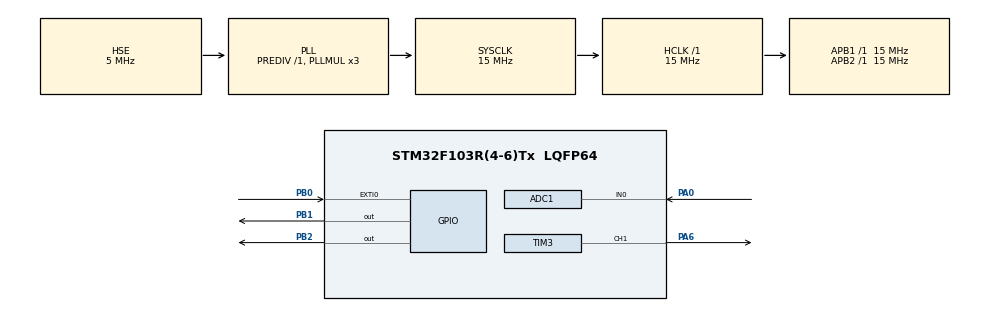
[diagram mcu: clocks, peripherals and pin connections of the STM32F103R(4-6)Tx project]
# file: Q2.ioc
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ADC1.Channel-0\#ChannelRegularConversion=ADC_CHANNEL_0
ADC1.ContinuousConvMode=ENABLE
ADC1.NbrOfConversionFlag=1
ADC1.Rank-0\#ChannelRegularConversion=1
ADC1.SamplingTime-0\#ChannelRegularConversion=ADC_SAMPLETIME_1CYCLE_5
ADC1.master=1
Mcu.Family=STM32F1
Mcu.Name=STM32F103R(4-6)Tx
Mcu.Package=LQFP64
NVIC.EXTI0_IRQn=true\:0\:0\:false\:false\:true\:true\:true\:true
NVIC.PriorityGroup=NVIC_PRIORITYGROUP_4
PA0-WKUP.Signal=ADCx_IN0
PA6.Signal=S_TIM3_CH1
PB0.GPIO_ModeDefaultEXTI=GPIO_MODE_IT_FALLING
PB0.GPIO_PuPd=GPIO_PULLUP
PB0.Signal=GPXTI0
PB1.Signal=GPIO_Output
PB2.Signal=GPIO_Output
PD0-OSC_IN.Mode=HSE-External-Oscillator
PD0-OSC_IN.Signal=RCC_OSC_IN
PD1-OSC_OUT.Mode=HSE-External-Oscillator
PD1-OSC_OUT.Signal=RCC_OSC_OUT
ProjectManager.HeapSize=0x200
ProjectManager.StackSize=0x400
ProjectManager.TargetToolchain=STM32CubeIDE
RCC.AHBFreq_Value=15000000
RCC.APB1Freq_Value=15000000
RCC.APB1TimFreq_Value=15000000
RCC.APB2Freq_Value=15000000
RCC.APB2TimFreq_Value=15000000
RCC.HCLKFreq_Value=15000000
RCC.HSE_VALUE=5000000
RCC.PLLMUL=RCC_PLL_MUL3
RCC.PLLSourceVirtual=RCC_PLLSOURCE_HSE
RCC.SYSCLKFreq_VALUE=15000000
RCC.SYSCLKSource=RCC_SYSCLKSOURCE_PLLCLK
RCC.USBFreq_Value=15000000
SH.ADCx_IN0.0=ADC1_IN0,IN0
SH.S_TIM3_CH1.0=TIM3_CH1,PWM Generation1 CH1
TIM3.Channel-PWM\ Generation1\ CH1=TIM_CHANNEL_1
TIM3.Period=999
TIM3.Prescaler=14
VP_SYS_VS_ND.Mode=No_Debug
VP_TIM3_VS_ClockSourceINT.Mode=Internal
board=custom

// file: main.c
/* USER CODE BEGIN Header */
/**
  ******************************************************************************
  * @file           : main.c
  * @brief          : Main program body
  ******************************************************************************
  * @attention
  *
  * Copyright (c) 2026 STMicroelectronics.
  * All rights reserved.
  *
  * This software is licensed under terms that can be found in the LICENSE file
  * in the root directory of this software component.
  * If no LICENSE file comes with this software, it is provided AS-IS.
  *
  ******************************************************************************
  */
/* USER CODE END Header */
#include "main.h"

ADC_HandleTypeDef hadc1;

TIM_HandleTypeDef htim3;

/* USER CODE BEGIN PV */
uint8_t direction_flag=0;
/* USER CODE END PV */

void SystemClock_Config(void);
static void MX_GPIO_Init(void);
static void MX_ADC1_Init(void);
static void MX_TIM3_Init(void);

int main(void)
{

  /* MCU Configuration--------------------------------------------------------*/

  /* Reset of all peripherals, Initializes the Flash interface and the Systick. */
  HAL_Init();

  /* Configure the system clock */
  SystemClock_Config();

  /* Initialize all configured peripherals */
  MX_GPIO_Init();
  MX_ADC1_Init();
  MX_TIM3_Init();
  /* USER CODE BEGIN 2 */
  HAL_TIM_PWM_Start(&htim3, TIM_CHANNEL_1);
  HAL_ADC_Start(&hadc1);
  HAL_GPIO_WritePin(GPIOB, GPIO_PIN_1, GPIO_PIN_SET);   // IN1 = 1
  HAL_GPIO_WritePin(GPIOB, GPIO_PIN_2, GPIO_PIN_RESET); // IN2 = 0
  /* USER CODE END 2 */

  /* Infinite loop */
    while (1)
    {

      /* USER CODE BEGIN 3 */
  	  uint16_t adc_value = HAL_ADC_GetValue(&hadc1);
  	  uint16_t pwm_duty = (adc_value * 999) / 4095;
  	  TIM3->CCR1 = pwm_duty;
  	  HAL_Delay(10);
    }
    /* USER CODE END 3 */
  }

void SystemClock_Config(void)
{
  RCC_OscInitTypeDef RCC_OscInitStruct = {0};
  RCC_ClkInitTypeDef RCC_ClkInitStruct = {0};
  RCC_PeriphCLKInitTypeDef PeriphClkInit = {0};

  /** Initializes the RCC Oscillators according to the specified parameters
  * in the RCC_OscInitTypeDef structure.
  */
  RCC_OscInitStruct.OscillatorType = RCC_OSCILLATORTYPE_HSE;
  RCC_OscInitStruct.HSEState = RCC_HSE_ON;
  RCC_OscInitStruct.HSEPredivValue = RCC_HSE_PREDIV_DIV1;
  RCC_OscInitStruct.HSIState = RCC_HSI_ON;
  RCC_OscInitStruct.PLL.PLLState = RCC_PLL_ON;
  RCC_OscInitStruct.PLL.PLLSource = RCC_PLLSOURCE_HSE;
  RCC_OscInitStruct.PLL.PLLMUL = RCC_PLL_MUL3;
  if (HAL_RCC_OscConfig(&RCC_OscInitStruct) != HAL_OK)
  {
    Error_Handler();
  }

  /** Initializes the CPU, AHB and APB buses clocks
  */
  RCC_ClkInitStruct.ClockType = RCC_CLOCKTYPE_HCLK|RCC_CLOCKTYPE_SYSCLK
                              |RCC_CLOCKTYPE_PCLK1|RCC_CLOCKTYPE_PCLK2;
  RCC_ClkInitStruct.SYSCLKSource = RCC_SYSCLKSOURCE_PLLCLK;
  RCC_ClkInitStruct.AHBCLKDivider = RCC_SYSCLK_DIV1;
  RCC_ClkInitStruct.APB1CLKDivider = RCC_HCLK_DIV1;
  RCC_ClkInitStruct.APB2CLKDivider = RCC_HCLK_DIV1;

  if (HAL_RCC_ClockConfig(&RCC_ClkInitStruct, FLASH_LATENCY_0) != HAL_OK)
  {
    Error_Handler();
  }
  PeriphClkInit.PeriphClockSelection = RCC_PERIPHCLK_ADC;
  PeriphClkInit.AdcClockSelection = RCC_ADCPCLK2_DIV2;
  if (HAL_RCCEx_PeriphCLKConfig(&PeriphClkInit) != HAL_OK)
  {
    Error_Handler();
  }
}

static void MX_ADC1_Init(void)
{

  ADC_ChannelConfTypeDef sConfig = {0};

  /** Common config
  */
  hadc1.Instance = ADC1;
  hadc1.Init.ScanConvMode = ADC_SCAN_DISABLE;
  hadc1.Init.ContinuousConvMode = ENABLE;
  hadc1.Init.DiscontinuousConvMode = DISABLE;
  hadc1.Init.ExternalTrigConv = ADC_SOFTWARE_START;
  hadc1.Init.DataAlign = ADC_DATAALIGN_RIGHT;
  hadc1.Init.NbrOfConversion = 1;
  if (HAL_ADC_Init(&hadc1) != HAL_OK)
  {
    Error_Handler();
  }

  /** Configure Regular Channel
  */
  sConfig.Channel = ADC_CHANNEL_0;
  sConfig.Rank = ADC_REGULAR_RANK_1;
  sConfig.SamplingTime = ADC_SAMPLETIME_1CYCLE_5;
  if (HAL_ADC_ConfigChannel(&hadc1, &sConfig) != HAL_OK)
  {
    Error_Handler();
  }

}

static void MX_TIM3_Init(void)
{

  TIM_ClockConfigTypeDef sClockSourceConfig = {0};
  TIM_MasterConfigTypeDef sMasterConfig = {0};
  TIM_OC_InitTypeDef sConfigOC = {0};

  htim3.Instance = TIM3;
  htim3.Init.Prescaler = 14;
  htim3.Init.CounterMode = TIM_COUNTERMODE_UP;
  htim3.Init.Period = 999;
  htim3.Init.ClockDivision = TIM_CLOCKDIVISION_DIV1;
  htim3.Init.AutoReloadPreload = TIM_AUTORELOAD_PRELOAD_DISABLE;
  if (HAL_TIM_Base_Init(&htim3) != HAL_OK)
  {
    Error_Handler();
  }
  sClockSourceConfig.ClockSource = TIM_CLOCKSOURCE_INTERNAL;
  if (HAL_TIM_ConfigClockSource(&htim3, &sClockSourceConfig) != HAL_OK)
  {
    Error_Handler();
  }
  if (HAL_TIM_PWM_Init(&htim3) != HAL_OK)
  {
    Error_Handler();
  }
  sMasterConfig.MasterOutputTrigger = TIM_TRGO_RESET;
  sMasterConfig.MasterSlaveMode = TIM_MASTERSLAVEMODE_DISABLE;
  if (HAL_TIMEx_MasterConfigSynchronization(&htim3, &sMasterConfig) != HAL_OK)
  {
    Error_Handler();
  }
  sConfigOC.OCMode = TIM_OCMODE_PWM1;
  sConfigOC.Pulse = 0;
  sConfigOC.OCPolarity = TIM_OCPOLARITY_HIGH;
  sConfigOC.OCFastMode = TIM_OCFAST_DISABLE;
  if (HAL_TIM_PWM_ConfigChannel(&htim3, &sConfigOC, TIM_CHANNEL_1) != HAL_OK)
  {
    Error_Handler();
  }
  HAL_TIM_MspPostInit(&htim3);

}

static void MX_GPIO_Init(void)
{
  GPIO_InitTypeDef GPIO_InitStruct = {0};

  /* GPIO Ports Clock Enable */
  __HAL_RCC_GPIOD_CLK_ENABLE();
  __HAL_RCC_GPIOA_CLK_ENABLE();
  __HAL_RCC_GPIOB_CLK_ENABLE();

  /*Configure GPIO pin Output Level */
  HAL_GPIO_WritePin(GPIOB, GPIO_PIN_1|GPIO_PIN_2, GPIO_PIN_RESET);

  /*Configure GPIO pin : PB0 */
  GPIO_InitStruct.Pin = GPIO_PIN_0;
  GPIO_InitStruct.Mode = GPIO_MODE_IT_FALLING;
  GPIO_InitStruct.Pull = GPIO_PULLUP;
  HAL_GPIO_Init(GPIOB, &GPIO_InitStruct);

  /*Configure GPIO pins : PB1 PB2 */
  GPIO_InitStruct.Pin = GPIO_PIN_1|GPIO_PIN_2;
  GPIO_InitStruct.Mode = GPIO_MODE_OUTPUT_PP;
  GPIO_InitStruct.Pull = GPIO_NOPULL;
  GPIO_InitStruct.Speed = GPIO_SPEED_FREQ_LOW;
  HAL_GPIO_Init(GPIOB, &GPIO_InitStruct);

  /* EXTI interrupt init*/
  HAL_NVIC_SetPriority(EXTI0_IRQn, 0, 0);
  HAL_NVIC_EnableIRQ(EXTI0_IRQn);

}

/* USER CODE BEGIN 4 */
void HAL_GPIO_EXTI_Callback(uint16_t GPIO_Pin)
{
    if (GPIO_Pin == GPIO_PIN_0)
    {
        direction_flag = !direction_flag;

        if (direction_flag == 0)
        {
            // cw
            HAL_GPIO_WritePin(GPIOB, GPIO_PIN_1, GPIO_PIN_SET);   // IN1 = 1
            HAL_GPIO_WritePin(GPIOB, GPIO_PIN_2, GPIO_PIN_RESET); // IN2 = 0
        }
        else
        {
            // ‌ccw
            HAL_GPIO_WritePin(GPIOB, GPIO_PIN_1, GPIO_PIN_RESET); // IN1 = 0
            HAL_GPIO_WritePin(GPIOB, GPIO_PIN_2, GPIO_PIN_SET);   // IN2 = 1
        }
    }
}
/* USER CODE END 4 */

void Error_Handler(void)
{
  __disable_irq();
  while (1)
  {
  }
}
